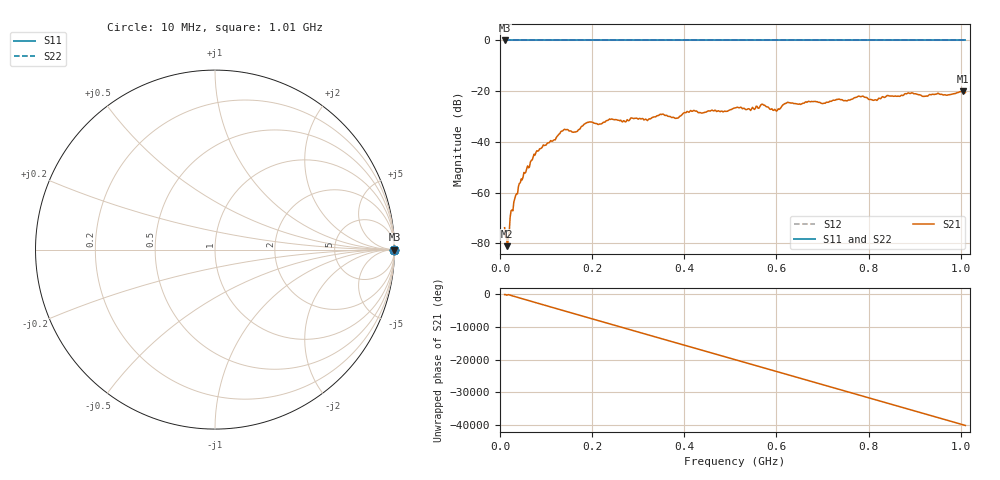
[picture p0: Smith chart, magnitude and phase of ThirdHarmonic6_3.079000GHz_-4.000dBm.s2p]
! 8/17/2025 9:01:17 AM
! C:\ANRITSUVNA\TEMP\TEMP.S2P
! CHANNEL.1
! TR.MEASUREMENT
! RAW.DATA
! RF.CORRECTION.OFF
! AVERAGING.OFF
! IF.BANDWIDTH: 5KHZ
! SWEEPTYPE:  FREQ.SWEEP(Linear)
! Reference Plane Port Info
! PORT:  PORT1  PORT2
! DISTANCE:  0  m  0  m
! TIME:  0  s  0  s
! PHASE.OFFSET:  0  deg.  0  deg.
! LOSS:  0  dB  0  dB
! REF.LOSS:  0  dB  0  dB
! REF.FREQ:  0  Hz  0  Hz
! Power Info
! POWER:  -20  dBm  -20  dBm
! EFF.POWER:  -20  dBm  -20  dBm
! SOURCE.ATTEN:  0  dB  0  dB
! TEST.ATTEN:  0  dB  0  dB
# GHZ S RI R 50.0
! FREQ.GHZ  S11RE  S11IM  S21RE  S21IM  S12RE  S12IM  S22RE  S22IM
!; PortSelection: Port_12
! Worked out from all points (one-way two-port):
!   501 points, 10 MHz to 1.01 GHz, reference 50 ohm
!   highest |S21| = -20.03 dB at 1.004 GHz (marker M1); lowest = -81.1 dB at 16 MHz (marker M2)
!   lowest |S11| = 0.0 dB at 10 MHz (marker M3)
!   |S11| at or under -10 dB: nowhere
!   |S22| runs from 0.0 to 0.0 dB; largest |S21 - S12| = 1.1
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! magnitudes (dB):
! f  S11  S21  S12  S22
! 10 MHz  0.0  -73.8  0.0  0.0
! 16 MHz  0.0  -81.1  0.0  0.0
! 26 MHz  0.0  -66.8  0.0  0.0
! 38 MHz  0.0  -60.5  0.0  0.0
! 76 MHz  0.0  -45.2  0.0  0.0
! 136 MHz  0.0  -35.7  0.0  0.0
! 164 MHz  0.0  -36.1  0.0  0.0
! 178 MHz  0.0  -33.8  0.0  0.0
! 194 MHz  0.0  -32.1  0.0  0.0
! 344 MHz  0.0  -29.6  0.0  0.0
! 384 MHz  0.0  -30.6  0.0  0.0
! 416 MHz  0.0  -27.9  0.0  0.0
! 510 MHz  0.0  -26.6  0.0  0.0
! 570 MHz  0.0  -25.1  0.0  0.0
! 598 MHz  0.0  -27.4  0.0  0.0
! 622 MHz  0.0  -24.6  0.0  0.0
! 678 MHz  0.0  -24.1  0.0  0.0
! 782 MHz  0.0  -22.1  0.0  0.0
! 814 MHz  0.0  -23.4  0.0  0.0
! 844 MHz  0.0  -21.8  0.0  0.0
! 1.004 GHz  0.0  -20.0  0.0  0.0
! 1.01 GHz  0.0  -20.5  0.0  0.0
